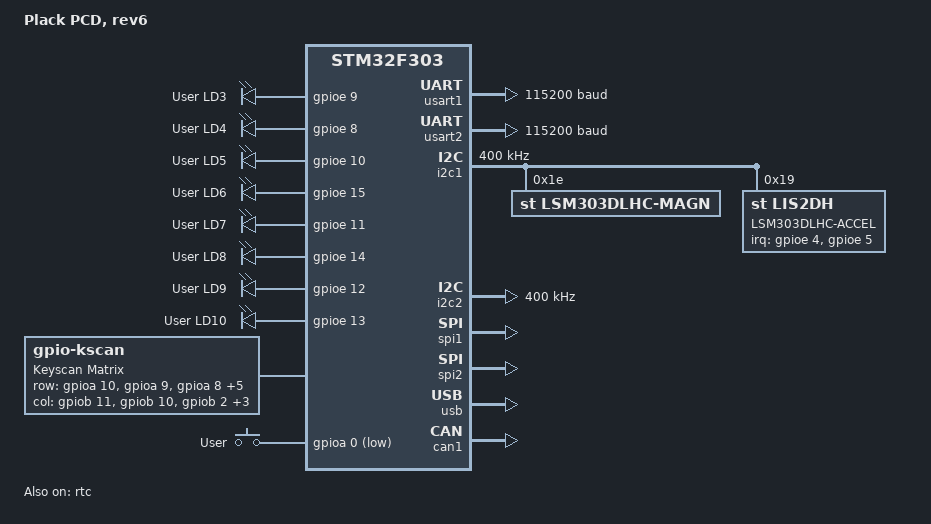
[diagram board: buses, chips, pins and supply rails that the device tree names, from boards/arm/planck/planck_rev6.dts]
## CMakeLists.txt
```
# Find Zephyr. This also loads Zephyr's build system.
cmake_minimum_required(VERSION 3.13.1)

list(APPEND BOARD_ROOT ${CMAKE_SOURCE_DIR})
list(APPEND DTS_ROOT ${CMAKE_SOURCE_DIR})

# Add our custom Zephyr module for drivers w/ syscalls, etc.
list(APPEND DTS_ROOT ${CMAKE_SOURCE_DIR}/drivers/zephyr)

list(APPEND ZEPHYR_EXTRA_MODULES
  ${CMAKE_CURRENT_SOURCE_DIR}/drivers
)
list(APPEND SYSCALL_INCLUDE_DIRS ${CMAKE_CURRENT_SOURCE_DIR}/drivers/zephyr)

include(cmake/keymap.cmake)

find_package(Zephyr)
project(zmk)


if(EXISTS ${KEYMAP_DIR}/keymap.c)
	target_sources(app PRIVATE ${KEYMAP_DIR}/keymap.c)
endif()


# Add your source file to the "app" target. This must come after
# find_package(Zephyr) which defines the target.
target_include_directories(app PRIVATE include)
target_sources(app PRIVATE src/kscan.c)
target_sources(app PRIVATE src/keymap.c)
target_sources(app PRIVATE src/hid.c)
target_sources_ifdef(CONFIG_ZMK_BLE app PRIVATE src/ble.c)
target_sources_ifdef(CONFIG_ZMK_KSCAN_MOCK_DRIVER app PRIVATE src/kscan_mock.c)
target_sources_ifdef(CONFIG_ZMK_KSCAN_COMPOSITE_DRIVER app PRIVATE src/kscan_composite.c)
target_sources_ifdef(CONFIG_ZMK_USB app PRIVATE src/usb_hid.c)
target_sources_ifdef(CONFIG_ZMK_BLE app PRIVATE src/hog.c)
target_sources(app PRIVATE src/endpoints.c)
target_sources(app PRIVATE src/main.c)
target_sources(app PRIVATE src/handlers.c)
```

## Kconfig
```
# Copyright (c) 2020 The ZMK Contributors
# SPDX-License-Identifier: MIT

mainmenu "ZMK Firmware"

menu "ZMK"

menu "Basic Keyboard Setup"

config ZMK_KEYBOARD_NAME
	string "Keyboard Name"

config USB_DEVICE_PRODUCT
	default ZMK_KEYBOARD_NAME

config BT_DEVICE_NAME
	default ZMK_KEYBOARD_NAME

config USB_DEVICE_VID
	default 0x1D50

config USB_DEVICE_PID
	default 0x615E

config USB_DEVICE_MANUFACTURER
	default "ZMK Project"

config BT_DIS_PNP_VID
	default 0x1D50

config BT_DIS_PNP_PID
	default 0x615E

config BT_DIS_MODEL
	default ZMK_KEYBOARD_NAME

config BT_DIS_MANUF
	default "ZMK Project"

menu "HID"

choice ZMK_HID_REPORT_TYPE
	prompt "HID Report Type"

config ZMK_HID_REPORT_TYPE_HKRO
	bool "#-Key Roll Over (HKRO) HID Report"
	help
	  Enable # key roll over for HID report. This selection is "boot keyboard" compatible
	  but limits the total number of possible keys to report as held to #.

config ZMK_HID_REPORT_TYPE_NKRO
	bool "Full N-Key Roll Over (NKRO) HID Report"
	help
	  Enable full N-Key Roll Over for HID output. This selection will prevent the keyboard
	  from working with some BIOS/UEFI versions that only support "boot keyboard" support.
	  This option also prevents using some infrequently used higher range HID usages.

endchoice

if ZMK_HID_REPORT_TYPE_HKRO

config ZMK_HID_KEYBOARD_REPORT_SIZE
	int "# Keyboard Keys Reportable"
	default 6

endif

config ZMK_HID_CONSUMER_REPORT_SIZE
	int "# Consumer Keys Reportable"
	default 6


choice ZMK_HID_CONSUMER_REPORT_USAGES
	prompt "HID Report Type"

config ZMK_HID_CONSUMER_REPORT_USAGES_FULL
	bool "Full Consumer HID Usage Support"
	help
	  Enable full Consumer usage ID values to be sent to hosts. Allows for less
	  frequently used usages, but has compatibability issues with some host OSes.

config ZMK_HID_CONSUMER_REPORT_USAGES_BASIC
	bool "Basic Consumer HID Usage Support"
	help
	  Enable Consumer usage ID values up to "Playback Speed - Slow" to be sent to
	  hosts. Allows for broader compatibability with more host OSes.

endchoice

menu "Output Types"

config ZMK_USB
	bool "USB"
	select USB
	select USB_DEVICE_STACK
	select USB_DEVICE_HID

if ZMK_USB

config USB_NUMOF_EP_WRITE_RETRIES
	default 10

config USB_HID_POLL_INTERVAL_MS
	default 1

#ZMK_USB
endif

menuconfig ZMK_BLE
	bool "BLE (HID over GATT)"
	select BT
	select BT_SMP
	select BT_SMP_SC_PAIR_ONLY
	select BT_SMP_APP_PAIRING_ACCEPT
	select BT_PERIPHERAL
	select BT_DIS
	select BT_BAS
	select BT_SETTINGS
	select SETTINGS

if ZMK_BLE

config SYSTEM_WORKQUEUE_STACK_SIZE
	default 2048

config ZMK_BLE_THREAD_STACK_SIZE
	int "BLE notify thread stack size"
	default 512

config ZMK_BLE_THREAD_PRIORITY
	int "BLE notify thread priority"
	default 5

config ZMK_BLE_KEYBOARD_REPORT_QUEUE_SIZE
	int "Max number of keyboard HID reports to queue for sending over BLE"
	default 20

config ZMK_BLE_CONSUMER_REPORT_QUEUE_SIZE
	int "Max number of consumer HID reports to queue for sending over BLE"
	default 5

config ZMK_BLE_CLEAR_BONDS_ON_START
	bool "Configuration that clears all bond information from the keyboard on startup."
	default n

# HID GATT notifications sent this way are *not* picked up by Linux, and possibly others.
config BT_GATT_NOTIFY_MULTIPLE
	default n

config BT_GATT_AUTO_SEC_REQ
	default n

config BT_DEVICE_APPEARANCE
	default 961

config ZMK_BLE_PASSKEY_ENTRY
	bool "Experimental: Requiring typing passkey from host to pair BLE connection"
	default n

config BT_PERIPHERAL_PREF_MIN_INT
	default 6

config BT_PERIPHERAL_PREF_MAX_INT
	default 12

config BT_PERIPHERAL_PREF_LATENCY
	default 30

config BT_PERIPHERAL_PREF_TIMEOUT
	default 400

#ZMK_BLE
endif

#Output Types
endmenu

# HID
endmenu

rsource "src/split/Kconfig"

#Basic Keyboard Setup
endmenu

menu "Display/LED Options"

rsource "src/display/Kconfig"

menuconfig ZMK_RGB_UNDERGLOW
	bool "RGB Adressable LED Underglow"
	select LED_STRIP

if ZMK_RGB_UNDERGLOW

# This default value cuts down on tons of excess .conf files, if you're using GPIO, manually disable this
config SPI
	default y

config ZMK_RGB_UNDERGLOW_EXT_POWER
	bool "RGB underglow toggling also controls external power"
	default y

config ZMK_RGB_UNDERGLOW_BRT_MIN
	int "RGB underglow minimum brightness in percent"
	range 0 100
	default 0

config ZMK_RGB_UNDERGLOW_BRT_MAX
	int "RGB underglow maximum brightness in percent"
	range ZMK_RGB_UNDERGLOW_BRT_MIN 100
	default 100

config ZMK_RGB_UNDERGLOW_HUE_STEP
	int "RGB underglow hue step in degrees"
	range 0 359
	default 10

config ZMK_RGB_UNDERGLOW_SAT_STEP
	int "RGB underglow saturation step in percent"
	range 0 100
	default 10

config ZMK_RGB_UNDERGLOW_BRT_STEP
	int "RGB underglow brightness step in percent"
	range 0 100
	default 10

config ZMK_RGB_UNDERGLOW_HUE_START
	int "RGB underglow start hue value in degrees"
	range 0 359
	default 0

config ZMK_RGB_UNDERGLOW_SAT_START
	int "RGB underglow start saturations value in percent"
	range 0 100
	default 100

config ZMK_RGB_UNDERGLOW_BRT_START
	int "RGB underglow start brightness value in percent"
	range ZMK_RGB_UNDERGLOW_BRT_MIN ZMK_RGB_UNDERGLOW_BRT_MAX
	default ZMK_RGB_UNDERGLOW_BRT_MAX

config ZMK_RGB_UNDERGLOW_SPD_START
	int "RGB underglow start animation speed value"
	range 1 5
	default 3

config ZMK_RGB_UNDERGLOW_EFF_START
	int "RGB underglow start effect int value related to the effect enum list"
	range 0 3
	default 0

config ZMK_RGB_UNDERGLOW_ON_START
	bool "RGB underglow starts on by default"
	default y

config ZMK_RGB_UNDERGLOW_AUTO_OFF_IDLE
	bool "Turn off RGB underglow when keyboard goes into idle state"

config ZMK_RGB_UNDERGLOW_AUTO_OFF_USB
	bool "Turn off RGB underglow when USB is disconnected"
	depends on USB_DEVICE_STACK

#ZMK_RGB_UNDERGLOW
endif

menuconfig ZMK_BACKLIGHT
	bool "LED backlight"
	select LED

if ZMK_BACKLIGHT

config ZMK_BACKLIGHT_BRT_STEP
	int "Brightness step in percent"
	range 1 100
	default 20

config ZMK_BACKLIGHT_BRT_START
	int "Default brightness in percent"
	range 1 100
	default 40

config ZMK_BACKLIGHT_ON_START
	bool "Default backlight state"
	default y

config ZMK_BACKLIGHT_AUTO_OFF_IDLE
	bool "Turn off backlight when keyboard goes into idle state"

config ZMK_BACKLIGHT_AUTO_OFF_USB
	bool "Turn off backlight when USB is disconnected"

#ZMK_BACKLIGHT
endif

#Display/LED Options
endmenu

menu "Power Management"

config ZMK_IDLE_TIMEOUT
	int "Milliseconds of inactivity before entering idle state (OLED shutoff, etc)"
	default 30000

config ZMK_SLEEP
	bool "Enable deep sleep support"
	imply USB

if ZMK_SLEEP

config PM_DEVICE
	default y

config ZMK_IDLE_SLEEP_TIMEOUT
	int "Milliseconds of inactivity before entering deep sleep"
	default 900000

#ZMK_SLEEP
endif

config ZMK_EXT_POWER
	bool "Enable support to control external power output"
	default y

#Power Management
endmenu

menu "Combo options"

config ZMK_COMBO_MAX_PRESSED_COMBOS
	int "Maximum number of currently pressed combos"
	default 4

config ZMK_COMBO_MAX_COMBOS_PER_KEY
	int "Maximum number of combos per key"
	default 5

config ZMK_COMBO_MAX_KEYS_PER_COMBO
	int "Maximum number of keys per combo"
	default 4

#Combo options
endmenu

menu "Behavior Options"

config ZMK_BEHAVIORS_QUEUE_SIZE
	int "Maximum number of behaviors to allow queueing from a macro or other complex behavior"
	default 64

DT_COMPAT_ZMK_BEHAVIOR_KEY_TOGGLE := zmk,behavior-key-toggle

config ZMK_BEHAVIOR_KEY_TOGGLE
        bool
        default $(dt_compat_enabled,$(DT_COMPAT_ZMK_BEHAVIOR_KEY_TOGGLE))

config ZMK_MACRO_DEFAULT_WAIT_MS
	int "Default time to wait (in milliseconds) before triggering the next behavior in macros"
	default 15

config ZMK_MACRO_DEFAULT_TAP_MS
	int "Default time to wait (in milliseconds) between the press and release events of a tapped behavior in macros"
	default 30

endmenu

menu "Advanced"

menu "Initialization Priorities"

if USB_DEVICE_STACK

config ZMK_USB_INIT_PRIORITY
	int "USB Init Priority"
	default 50

#USB
endif

if ZMK_BLE || ZMK_SPLIT_BLE

config ZMK_BLE_INIT_PRIORITY
	int "BLE Init Priority"
	default 50

#ZMK_BLE || ZMK_SPLIT_BLE
endif

#Initialization Priorities
endmenu

menu "KSCAN Settings"

config ZMK_KSCAN_EVENT_QUEUE_SIZE
	int "Size of the event queue for KSCAN events to buffer events"
	default 4

#KSCAN Settings
endmenu

menu "USB Logging"

config ZMK_USB_LOGGING
	bool "Enable USB CDC ACM logging to help debug"
	select LOG
	select USB
	select USB_DEVICE_STACK
	select USB_CDC_ACM
	select SERIAL
	select CONSOLE
	select UART_INTERRUPT_DRIVEN
	select UART_LINE_CTRL
	select UART_CONSOLE
	select USB_UART_CONSOLE

if ZMK_USB_LOGGING

config ZMK_LOG_LEVEL
	default 4

# We do this to avoid log loop where logging to USB generates more log messages.
config USB_CDC_ACM_LOG_LEVEL
	default 1

config USB_CDC_ACM_RINGBUF_SIZE
	default 1024

config LOG_BUFFER_SIZE
	default 8192

config LOG_STRDUP_BUF_COUNT
	default 16

config LOG_PROCESS_THREAD_STARTUP_DELAY_MS
	default 1000

#ZMK_USB_LOGGING
endif

#USB Logging
endmenu

if SETTINGS

config ZMK_SETTINGS_SAVE_DEBOUNCE
	int "Milliseconds to debounce settings saves"
	default 60000

#SETTINGS
endif

config ZMK_BATTERY_REPORT_INTERVAL
	depends on ZMK_BLE
	int "Battery level report interval in seconds"
	default 60

#Advanced
endmenu

#ZMK
endmenu

config HEAP_MEM_POOL_SIZE
	default 8192

config KERNEL_BIN_NAME
	default "zmk"

config REBOOT
	default y

config USB_DEVICE_STACK
	default y if HAS_HW_NRF_USBD

config ZMK_WPM
	bool "Calculate WPM"
	default n

config SENSOR
	default y

choice CBPRINTF_IMPLEMENTATION
	default CBPRINTF_NANO

endchoice

module = ZMK
module-str = zmk
source "subsys/logging/Kconfig.template.log_config"

rsource "boards/Kconfig"
rsource "boards/shields/*/Kconfig.defconfig"
rsource "boards/shields/*/Kconfig.shield"

osource "$(ZMK_CONFIG)/boards/shields/*/Kconfig.defconfig"
osource "$(ZMK_CONFIG)/boards/shields/*/Kconfig.shield"


source "Kconfig.zephyr"
```

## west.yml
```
manifest:
  remotes:
    - name: zephyrproject-rtos
      url-base: https://github.com/zephyrproject-rtos
    - name: petejohanson
      url-base: https://github.com/petejohanson
  projects:
    - name: zephyr
      remote: zephyrproject-rtos
      revision: master
      import: true
  self:
    path: zmk
```

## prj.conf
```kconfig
CONFIG_USB=y
CONFIG_USB_DEVICE_STACK=y
CONFIG_USB_DEVICE_HID=y
CONFIG_USB_DEVICE_PRODUCT="ZMK Firmware"
CONFIG_ZMK_BLE=y
CONFIG_ZMK_ACTION_MOD_TAP=y
# HID GATT notifications sent this way are *not* picked up by Linux, and possibly others.
CONFIG_BT_GATT_NOTIFY_MULTIPLE=n
CONFIG_BT_DEVICE_NAME="ZMK Keyboard"
CONFIG_BT_DEVICE_APPEARANCE=961
# CONFIG_LOG=y
# CONFIG_ZMK_LOG_LEVEL_DBG=y
# CONFIG_KSCAN_LOG_LEVEL_DBG=y

# Incresed stack due to settings API usage
# CONFIG_SYSTEM_WORKQUEUE_STACK_SIZE=2048
# 
# CONFIG_BT_SETTINGS=y
# CONFIG_FLASH=y
# CONFIG_FLASH_PAGE_LAYOUT=y
# CONFIG_FLASH_MAP=y
# CONFIG_NVS=y
# CONFIG_SETTINGS=y
```

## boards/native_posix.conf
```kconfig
CONFIG_KSCAN=n
CONFIG_ZMK_KSCAN_MOCK_DRIVER=y
CONFIG_ZMK_KSCAN_GPIO_DRIVER=n
CONFIG_GPIO=n
CONFIG_ZMK_BLE=n
CONFIG_LOG=y
CONFIG_KSCAN_LOG_LEVEL_DBG=y
CONFIG_ZMK_LOG_LEVEL_DBG=y
```

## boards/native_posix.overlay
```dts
#include <dt-bindings/zmk/keys.h>
#include <zmk/kscan-mock.h>

/ {
	chosen {
		zmk,kscan = &kscan0;
		zmk,keymap = &keymap0;
	};

	kscan0: kscan_0 {
		compatible = "zmk,kscan-composite";
		label = "KSCAN_COMP";
		rows = <2>;
		columns = <4>;

		left: left {
			kscan = <&left_hand>;
		};

		right: right {
			kscan = <&right_hand>;
			column-offset = <2>;
		};
	};

	left_hand: kscan_1 {
		compatible = "zmk,kscan-mock";
		label = "KSCAN_LEFT";

		rows = <2>;
		columns = <2>;
		events = <ZMK_MOCK_PRESS(0,1,300) ZMK_MOCK_PRESS(0,0,300) ZMK_MOCK_RELEASE(0,0,300) ZMK_MOCK_RELEASE(0,1,300)>;
		// events = <ZMK_MOCK_PRESS(0,0,800) ZMK_MOCK_RELEASE(0,0,800) ZMK_MOCK_PRESS(0,1,800) ZMK_MOCK_RELEASE(0,1,800)>;
	};

	right_hand: kscan_2 {
		compatible = "zmk,kscan-mock";
		label = "KSCAN_RIGHT";

		rows = <2>;
		columns = <2>;
		events = <ZMK_MOCK_PRESS(1,1,800) ZMK_MOCK_RELEASE(1,1,100) ZMK_MOCK_PRESS(0,1,800) ZMK_MOCK_RELEASE(0,1,100)>;
	};

	keymap0: keymap {
		compatible = "zmk,keymap";
		label ="Default keymap";
		layers = <&default &lower &raise>;
	};

	layers {
		compatible = "zmk,layers";

		default: layer_0 {
			label = "DEFAULT";
			keys =
			<
				KC_A MT(MOD_LSFT, KC_B) KC_C KC_D
				KC_E KC_F KC_G KC_H
			>;
		};

		lower: layer_1 {
			label = "LOWER";
			keys = <
				KC_A KC_B KC_C KC_D
				KC_E KC_F KC_G KC_H
			>;
		};

		raise: layer_2 {
			label = "RAISE";
			keys = <
				KC_E KC_F KC_G KC_H 
				KC_A KC_B KC_C KC_D
			>;
		};
	};
};
```

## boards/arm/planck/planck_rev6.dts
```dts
/*
 * Copyright (c) 2017 I-SENSE group of ICCS
 *
 * SPDX-License-Identifier: Apache-2.0
 */

/dts-v1/;
#include <st/f3/stm32f303.dtsi>

/ {
	model = "Plack PCD, rev6";
	compatible = "planck,rev6", "st,stm32f303";

	chosen {
		zephyr,console = &usart1;
		zephyr,shell-uart = &usart1;
		zephyr,sram = &sram0;
		zephyr,flash = &flash0;
	};

	leds {
		compatible = "gpio-leds";
		red_led_3: led_3 {
			gpios = <&gpioe 9 GPIO_ACTIVE_HIGH>;
			label = "User LD3";
		};
		blue_led_4: led_4 {
			gpios = <&gpioe 8 GPIO_ACTIVE_HIGH>;
			label = "User LD4";
		};
		orange_led_5: led_5 {
			gpios = <&gpioe 10 GPIO_ACTIVE_HIGH>;
			label = "User LD5";
		};
		green_led_6: led_6 {
			gpios = <&gpioe 15 GPIO_ACTIVE_HIGH>;
			label = "User LD6";
		};
		green_led_7: led_7 {
			gpios = <&gpioe 11 GPIO_ACTIVE_HIGH>;
			label = "User LD7";
		};
		orange_led_8: led_8 {
			gpios = <&gpioe 14 GPIO_ACTIVE_HIGH>;
			label = "User LD8";
		};
		blue_led_9: led_9 {
			gpios = <&gpioe 12 GPIO_ACTIVE_HIGH>;
			label = "User LD9";
		};
		red_led_10: led_10 {
			gpios = <&gpioe 13 GPIO_ACTIVE_HIGH>;
			label = "User LD10";
		};
	};

	kscan {
		compatible = "gpio-kscan";
		label = "Keyscan Matrix";
		row-gpios = <&gpioa 10 GPIO_ACTIVE_HIGH>,
			       <&gpioa 9 GPIO_ACTIVE_HIGH>,
			       <&gpioa 8 GPIO_ACTIVE_HIGH>,
			       <&gpiob 15 GPIO_ACTIVE_HIGH>,
			       <&gpioc 13 GPIO_ACTIVE_HIGH>,
			       <&gpioc 14 GPIO_ACTIVE_HIGH>,
			       <&gpioc 15 GPIO_ACTIVE_HIGH>,
			       <&gpioa 2 GPIO_ACTIVE_HIGH>;
		col-gpios = <&gpiob 11 GPIO_ACTIVE_HIGH>,
				<&gpiob 10 GPIO_ACTIVE_HIGH>,
				<&gpiob 2 GPIO_ACTIVE_HIGH>,
				<&gpiob 1 GPIO_ACTIVE_HIGH>,
				<&gpioa 7 GPIO_ACTIVE_HIGH>,
				<&gpiob 0 GPIO_ACTIVE_HIGH>;
	};

	gpio_keys {
		compatible = "gpio-keys";
		user_button: button {
			label = "User";
			gpios = <&gpioa 0 GPIO_ACTIVE_LOW>;
		};
	};

	aliases {
		led0 = &green_led_6;
		led1 = &green_led_7;
		sw0 = &user_button;
		can-primary = &can1;
	};
};

&usart1 {
	current-speed = <115200>;
	status = "okay";
};

&usart2 {
	current-speed = <115200>;
	status = "okay";
};

&i2c1 {
	status = "okay";
	clock-frequency = <I2C_BITRATE_FAST>;

	lsm303dlhc-magn@1e {
		compatible = "st,lsm303dlhc-magn";
		reg = <0x1e>;
		label = "LSM303DLHC-MAGN";
	};

	lsm303dlhc-accel@19 {
		compatible = "st,lis2dh", "st,lsm303dlhc-accel";
		reg = <0x19>;
		irq-gpios = <&gpioe 4 GPIO_ACTIVE_HIGH>,
			  <&gpioe 5 GPIO_ACTIVE_HIGH>;
		label = "LSM303DLHC-ACCEL";
	};
};

&i2c2 {
	status = "okay";
	clock-frequency = <I2C_BITRATE_FAST>;
};

&spi1 {
	status = "okay";
};

&spi2 {
	status = "okay";
};

&usb {
	status = "okay";
};

&rtc {
	status = "okay";
};

&can1 {
	status = "okay";
};

&flash0 {
	/*
	 * For more information, see:
	 * http://docs.zephyrproject.org/latest/guides/dts/index.html#flash-partitions
	 */
	partitions {
		compatible = "fixed-partitions";
		#address-cells = <1>;
		#size-cells = <1>;

		/* Set 6Kb of storage at the end of the 256Kb of flash */
		storage_partition: partition@3e800 {
			label = "storage";
			reg = <0x0003e800 0x00001800>;
		};
	};
};
```

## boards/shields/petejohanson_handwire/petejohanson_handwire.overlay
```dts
/ {
	chosen {
		zmk,kscan = &kscan0;
	};

	kscan0: kscan_0 {
		compatible = "zmk,kscan-composite";
		label = "KSCAN_COMP";
		rows = <2>;
		columns = <4>;

		left {
			kscan = <&left_hand>;
		};

		right {
			kscan = <&right_hand>;
			column-offset = <2>;
		};
	};

	left_hand: kscan_1 {
		compatible = "gpio-kscan";
		label = "KSCAN_LEFT";

		diode-direction = "row2col";
		row-gpios = <&arduino_header 8 (GPIO_ACTIVE_LOW | GPIO_PULL_UP)>,
		            <&arduino_header 9 (GPIO_ACTIVE_LOW | GPIO_PULL_UP)>;
		col-gpios = <&arduino_header 10 (GPIO_ACTIVE_LOW | GPIO_PULL_UP)>,
		            <&arduino_header 11 (GPIO_ACTIVE_LOW | GPIO_PULL_UP)>;
	};

	right_hand: kscan_2 {
		compatible = "gpio-kscan";
		label = "KSCAN_RIGHT";

		diode-direction = "row2col";
		row-gpios = <&arduino_header 12 (GPIO_ACTIVE_LOW | GPIO_PULL_UP)>,
		            <&arduino_header 13 (GPIO_ACTIVE_LOW | GPIO_PULL_UP)>;
		col-gpios = <&arduino_header 14 (GPIO_ACTIVE_LOW | GPIO_PULL_UP)>,
		            <&arduino_header 15 (GPIO_ACTIVE_LOW | GPIO_PULL_UP)>;
	};
};
```

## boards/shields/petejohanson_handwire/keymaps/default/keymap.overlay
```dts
#include <dt-bindings/zmk/keys.h>
#include <keymap.h>

/ {
	chosen {
		zmk,keymap = &keymap0;
	};
	keymap0: keymap {
		compatible = "zmk,keymap";
		label ="Default keymap";
		layers = <&default &lower &raise>;
	};

	layers {
		compatible = "zmk,layers";

		default: layer_0 {
			label = "DEFAULT";
			keys =
	<
	KC_A MT(MOD_LSFT, KC_B)    ZC_NO ZC_NO
	CC_RAIS CC_LOWR            ZC_NO ZC_NO
	>;
		};

		lower: layer_1 {
			label = "LOWER";
			keys = <
			KC_MPLY KC_MNXT    ZC_NO ZC_NO
			ZC_TRNS ZC_TRNS    ZC_NO ZC_NO
			>;
		};

		raise: layer_2 {
			label = "RAISE";
			keys = <
			KC_C KC_D          ZC_NO ZC_NO
			ZC_TRNS ZC_TRNS    ZC_NO ZC_NO>;
		};
	};
};
```

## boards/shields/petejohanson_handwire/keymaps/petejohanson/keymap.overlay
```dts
#include <dt-bindings/zmk/keys.h>

/ {
	chosen {
		zmk,keymap = &keymap0;
	};
	keymap0: keymap {
		compatible = "zmk,keymap";
		label ="Default keymap";
		layers = <&default &lower &raise>;
	};

	layers {
		compatible = "zmk,layers";

		default: layer_0 {
			label = "Default";
			keys =
	<
	KC_A KC_B
	KC_C ZC_CSTM(1)
	>;
		};

		lower: layer_1 {
			label = "Lower";
			keys = <KC_D KC_C KC_B KC_A>;
		};

		raise: layer_2 {
			label = "Raise";
			keys = <KC_C KC_D KC_A KC_B>;
		};
	};
};
```

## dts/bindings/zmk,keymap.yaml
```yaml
description: |
  Allows defining a keymap composed of multiple layers

compatible: "zmk,keymap"

properties:
  label:
    type: string
    required: true

  layers:
    type: phandles
    required: true
```

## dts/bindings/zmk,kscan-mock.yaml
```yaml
description: |
  Allows defining a mock keyboard scan driver that simulates periodic events.

compatible: "zmk,kscan-mock"

properties:
  label:
    type: string
  event-period:
    type: int
    description: Milliseconds between each generated event
  events:
    type: array
  rows:
    type: int
  columns:
    type: int
```

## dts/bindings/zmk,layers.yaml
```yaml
description: |
  Allows defining the various keymap layers for use.

compatible: "zmk,layers"

child-binding:
  description: "A layer to be used in a keymap"

  properties:
    label:
      type: string
    keys:
      type: array
```

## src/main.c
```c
/*
 * Copyright (c) 2020 Peter Johanson
 *
 * SPDX-License-Identifier: MIT
 */

#include <zephyr.h>
#include <device.h>
#include <devicetree.h>
#include <settings/settings.h>

#include <logging/log.h>
LOG_MODULE_REGISTER(zmk, CONFIG_ZMK_LOG_LEVEL);

#include <zmk/matrix.h>
#include <zmk/kscan.h>
#include <zmk/endpoints.h>

#define ZMK_KSCAN_DEV DT_LABEL(ZMK_MATRIX_NODE_ID)

void main(void)
{
	printk("Welcome to ZMK!\n");

	if (zmk_kscan_init(ZMK_KSCAN_DEV) != 0)
	{
		return;
	}

	if (zmk_endpoints_init())
	{
		printk("ENDPOINT INIT FAILED\n");
		return;
	}

#ifdef CONFIG_SETTINGS
	settings_load();
#endif
}
```

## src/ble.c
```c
#include <math.h>

#include <settings/settings.h>
#include <bluetooth/bluetooth.h>
#include <bluetooth/conn.h>
#include <bluetooth/hci.h>
#include <bluetooth/uuid.h>
#include <bluetooth/gatt.h>

#include <zmk/keys.h>

static struct bt_conn *auth_passkey_entry_conn;
static u8_t passkey_entries[6] = {0, 0, 0, 0, 0, 0};
static u8_t passkey_digit = 0;

static void connected(struct bt_conn *conn, u8_t err)
{
    char addr[BT_ADDR_LE_STR_LEN];

    bt_addr_le_to_str(bt_conn_get_dst(conn), addr, sizeof(addr));

    if (err)
    {
        printk("Failed to connect to %s (%u)\n", addr, err);
        return;
    }

    printk("Connected %s\n", addr);

    if (bt_conn_set_security(conn, BT_SECURITY_L2))
    {
        printk("Failed to set security\n");
    }
}

static void disconnected(struct bt_conn *conn, u8_t reason)
{
    char addr[BT_ADDR_LE_STR_LEN];

    bt_addr_le_to_str(bt_conn_get_dst(conn), addr, sizeof(addr));

    printk("Disconnected from %s (reason 0x%02x)\n", addr, reason);
}

static void security_changed(struct bt_conn *conn, bt_security_t level,
                             enum bt_security_err err)
{
    char addr[BT_ADDR_LE_STR_LEN];

    bt_addr_le_to_str(bt_conn_get_dst(conn), addr, sizeof(addr));

    if (!err)
    {
        printk("Security changed: %s level %u\n", addr, level);
    }
    else
    {
        printk("Security failed: %s level %u err %d\n", addr, level,
               err);
    }
}

static struct bt_conn_cb conn_callbacks = {
    .connected = connected,
    .disconnected = disconnected,
    .security_changed = security_changed,
};

static void auth_passkey_display(struct bt_conn *conn, unsigned int passkey)
{
    char addr[BT_ADDR_LE_STR_LEN];

    bt_addr_le_to_str(bt_conn_get_dst(conn), addr, sizeof(addr));

    printk("Passkey for %s: %06u\n", addr, passkey);
}

#ifdef CONFIG_ZMK_BLE_PASSKEY_ENTRY

static void auth_passkey_entry(struct bt_conn *conn)
{
    char addr[BT_ADDR_LE_STR_LEN];

    bt_addr_le_to_str(bt_conn_get_dst(conn), addr, sizeof(addr));

    printk("Passkey entry requested for %s\n", addr);
    auth_passkey_entry_conn = bt_conn_ref(conn);
}

#endif

static void auth_cancel(struct bt_conn *conn)
{
    char addr[BT_ADDR_LE_STR_LEN];

    bt_addr_le_to_str(bt_conn_get_dst(conn), addr, sizeof(addr));

    if (auth_passkey_entry_conn)
    {
        bt_conn_unref(auth_passkey_entry_conn);
        auth_passkey_entry_conn = NULL;
    }

    passkey_digit = 0;

    printk("Pairing cancelled: %s\n", addr);
}

static struct bt_conn_auth_cb zmk_ble_auth_cb_display = {
// .passkey_display = auth_passkey_display,

#ifdef CONFIG_ZMK_BLE_PASSKEY_ENTRY
    .passkey_entry = auth_passkey_entry,
#endif
    .cancel = auth_cancel,
};

static const struct bt_data zmk_ble_ad[] = {
    BT_DATA_BYTES(BT_DATA_FLAGS, (BT_LE_AD_GENERAL | BT_LE_AD_NO_BREDR)),
    BT_DATA_BYTES(BT_DATA_UUID16_ALL,
                  0x12, 0x18,  /* HID Service */
                  0x0f, 0x18), /* Battery Service */
};

static void zmk_ble_ready(int err)
{
    if (err)
    {
        printk("Bluetooth init failed (err %d)\n", err);
        return;
    }

    printk("Bluetooth initialized\n");

    err = bt_le_adv_start(BT_LE_ADV_CONN_NAME, zmk_ble_ad, ARRAY_SIZE(zmk_ble_ad), NULL, 0);
    if (err)
    {
        printk("Advertising failed to start (err %d)\n", err);
        return;
    }
}

int zmk_ble_init()
{
    if (IS_ENABLED(CONFIG_SETTINGS))
    {
        settings_load();
    }
    int err = bt_enable(zmk_ble_ready);

    if (err)
    {
        printk("BLUETOOTH FAILED");
        return err;
    }

    bt_conn_cb_register(&conn_callbacks);
    bt_conn_auth_cb_register(&zmk_ble_auth_cb_display);

    return 0;
}

bool zmk_ble_handle_key_user(struct zmk_key_event *key_event)
{
    zmk_key key = key_event->key;

    if (!auth_passkey_entry_conn)
    {
        return true;
    }

    if (key < KC_1 || key > KC_0)
    {
        return true;
    }

    u32_t val = (key == KC_0) ? 0 : (key - KC_1 + 1);

    passkey_entries[passkey_digit++] = val;

    if (passkey_digit == 6)
    {
        u32_t passkey = 0;
        for (int i = 5; i >= 0; i--)
        {
            passkey = (passkey * 10) + val;
        }
        bt_conn_auth_passkey_entry(auth_passkey_entry_conn, passkey);
        bt_conn_unref(auth_passkey_entry_conn);
        auth_passkey_entry_conn = NULL;
    }

    return false;
}
```

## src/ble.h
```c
#pragma once

int zmk_ble_init();
bool zmk_ble_handle_key_user(struct zmk_key_event *key_event);
```

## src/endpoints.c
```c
#include <zmk/endpoints.h>
#include <zmk/hid.h>
#include <zmk/usb_hid.h>
#include <zmk/hog.h>

#include <logging/log.h>
LOG_MODULE_DECLARE(zmk, CONFIG_ZMK_LOG_LEVEL);

int zmk_endpoints_init()
{
    int err;

    LOG_DBG("");

#ifdef CONFIG_ZMK_USB
    err = zmk_usb_hid_init();
    if (err)
    {
        LOG_ERR("USB HID Init Failed\n");
        return err;
    }
#endif /* CONFIG_ZMK_USB */

#ifdef CONFIG_ZMK_BLE
    err = zmk_hog_init();
    if (err)
    {
        LOG_ERR("HOG Init Failed\n");
        return err;
    }

#endif /* CONFIG_ZMK_BLE */

    return 0;
}

int zmk_endpoints_send_report()
{
    int err;
    struct zmk_hid_report *report = zmk_hid_get_report();

#ifdef CONFIG_ZMK_USB
    if (zmk_usb_hid_send_report(report) != 0)
    {
        LOG_DBG("USB Send Failed");
    }
#endif /* CONFIG_ZMK_USB */

#ifdef CONFIG_ZMK_BLE
    err = zmk_hog_send_report(report);
    if (err)
    {
        LOG_ERR("FAILED TO SEND OVER HOG: %d", err);
    }
#endif /* CONFIG_ZMK_BLE */

    return 0;
}

int zmk_endpoints_send_key_event(struct zmk_key_event key_event)
{
    LOG_DBG("key %d, state %d\n", key_event.key, key_event.pressed);

    if (key_event.pressed)
    {
        zmk_hid_press_key(key_event.key);
    }
    else
    {
        zmk_hid_release_key(key_event.key);
    }

    return zmk_endpoints_send_report();
}
```

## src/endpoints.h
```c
#pragma once

#include "keys.h"

int zmk_endpoints_init();
int zmk_endpoints_send_key_event(struct zmk_key_event key_event);
```

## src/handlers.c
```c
#include <zmk/ble.h>
#include <zmk/handlers.h>
#include <zmk/endpoints.h>
#include <zmk/hid.h>
#include <zmk/matrix.h>

#ifdef CONFIG_ZMK_ACTION_MOD_TAP
u16_t action_effect_pending = 0;
#endif

__attribute__((weak)) bool zmk_handle_key_user(struct zmk_key_event *key_event)
{
	return true;
};

bool zmk_handle_action(zmk_action action, struct zmk_key_event *key_event)
{
	zmk_mod mods = ZK_MODS(key_event->key);
	u8_t flattened_index = (key_event->row * ZMK_MATRIX_COLS) + key_event->column;
	switch (action)
	{
#ifdef CONFIG_ZMK_ACTION_MOD_TAP
	case ZMK_ACTION_MOD_TAP:
		if (key_event->pressed)
		{
			WRITE_BIT(action_effect_pending, flattened_index, true);
			zmk_hid_register_mods(mods);
		}
		else
		{
			zmk_hid_unregister_mods(mods);
			if (action_effect_pending & BIT(flattened_index))
			{
				struct zmk_key_event non_mod_event =
					{
						.row = key_event->row,
						.column = key_event->column,
						.key = ZK_KEY(key_event->key),
						.pressed = true};

				zmk_handle_key(non_mod_event);
				// A small sleep is needed to ensure device layer sends initial
				// key, before we send the release.
				k_msleep(10);
				non_mod_event.pressed = false;
				zmk_handle_key(non_mod_event);
			}
			else
			{
				// Since not sending a keycode, at least send the report w/ the mod removed
				zmk_endpoints_send_report(Keypad);
			}
		}
		break;
#endif
	}
	return false;
};

void zmk_handle_key(struct zmk_key_event key_event)
{
	zmk_action action = ZK_ACTION(key_event.key);

	if (!zmk_handle_key_user(&key_event))
	{
		return;
	}

	if (action && !zmk_handle_action(action, &key_event))
	{
		return;
	}

#ifdef CONFIG_ZMK_ACTION_MOD_TAP
	action_effect_pending = 0;
#endif

#ifdef CONFIG_ZMK_BLE
	/* Used for intercepting key presses when doing passkey verification */
	if (!zmk_ble_handle_key_user(&key_event))
	{
		return;
	}
#endif /* CONFIG_ZMK_BLE */

	zmk_endpoints_send_key_event(key_event);
};
```

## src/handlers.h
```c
#pragma once

#include <dt-bindings/zmk/keys.h>

#include "keymap.h"
#include "keys.h"

void zmk_handle_key(struct zmk_key_event key_event);
```

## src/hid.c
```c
#include <zmk/hid.h>

static struct zmk_hid_report report = {
    .modifiers = 0,
    .keys = {0, 0, 0, 0, 0, 0, 0, 0, 0, 0, 0, 0, 0}};

#define _TOGGLE_MOD(mod, state)              \
    if (modifier > MOD_RGUI)                 \
    {                                        \
        return -EINVAL;                      \
    }                                        \
    WRITE_BIT(report.modifiers, mod, state); \
    return 0;

int zmk_hid_register_mod(zmk_mod modifier)
{
    _TOGGLE_MOD(modifier, true);
}
int zmk_hid_unregister_mod(zmk_mod modifier)
{
    _TOGGLE_MOD(modifier, false);
}

int zmk_hid_register_mods(zmk_mod_flags modifiers)
{
    report.modifiers |= modifiers;
    return 0;
}

int zmk_hid_unregister_mods(zmk_mod_flags modifiers)
{
    report.modifiers &= ~modifiers;
    return 0;
}

#define KEY_OFFSET 0x02
#define MAX_KEYS 6

/*
#define TOGGLE_BOOT_KEY(match, val)                      \
    for (int idx = 0; idx < MAX_KEYS; idx++)             \
    {                                                    \
        if (report.boot.keys[idx + KEY_OFFSET] != match) \
        {                                                \
            continue;                                    \
        }                                                \
        report.boot.keys[idx + KEY_OFFSET] = val;        \
        break;                                           \
    }
*/

#define TOGGLE_KEY(code, val) WRITE_BIT(report.keys[code / 8], code % 8, val)

int zmk_hid_press_key(zmk_key code)
{
    if (code >= KC_LCTL && code <= KC_RGUI)
    {
        return zmk_hid_register_mod(code - KC_LCTL);
    }

    if (code > ZMK_HID_MAX_KEYCODE)
    {
        return -EINVAL;
    }

    // TOGGLE_BOOT_KEY(0U, code);

    TOGGLE_KEY(code, true);

    return 0;
};

int zmk_hid_release_key(zmk_key code)
{
    if (code >= KC_LCTL && code <= KC_RGUI)
    {
        return zmk_hid_unregister_mod(code - KC_LCTL);
    }

    if (code > ZMK_HID_MAX_KEYCODE)
    {
        return -EINVAL;
    }

    // TOGGLE_BOOT_KEY(code, 0U);

    TOGGLE_KEY(code, false);

    return 0;
};

struct zmk_hid_report *zmk_hid_get_report()
{
    return &report;
}
```

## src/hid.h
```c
#pragma once

#include <usb/usb_device.h>
#include <usb/class/usb_hid.h>

#include <dt-bindings/zmk/keys.h>

#include "keys.h"

#define ZMK_HID_MAX_KEYCODE KC_APP

static const u8_t zmk_hid_report_desc[] = {
    /* USAGE_PAGE (Generic Desktop) */
    HID_GI_USAGE_PAGE,
    USAGE_GEN_DESKTOP,
    /* USAGE (Keyboard) */
    HID_LI_USAGE,
    USAGE_GEN_DESKTOP_KEYBOARD,
    /* COLLECTION (Application) */
    HID_MI_COLLECTION,
    COLLECTION_APPLICATION,
    /* REPORT ID (1) */
    HID_GI_REPORT_ID,
    0x01,
    /* USAGE_PAGE (Keypad) */
    HID_GI_USAGE_PAGE,
    USAGE_GEN_DESKTOP_KEYPAD,
    /* USAGE_MINIMUM (Keyboard LeftControl) */
    HID_LI_USAGE_MIN(1),
    0xE0,
    /* USAGE_MAXIMUM (Keyboard Right GUI) */
    HID_LI_USAGE_MAX(1),
    0xE7,
    /* LOGICAL_MINIMUM (0) */
    HID_GI_LOGICAL_MIN(1),
    0x00,
    /* LOGICAL_MAXIMUM (1) */
    HID_GI_LOGICAL_MAX(1),
    0x01,

    /* REPORT_SIZE (1) */
    HID_GI_REPORT_SIZE,
    0x01,
    /* REPORT_COUNT (8) */
    HID_GI_REPORT_COUNT,
    0x08,
    /* INPUT (Data,Var,Abs) */
    HID_MI_INPUT,
    0x02,

    /* USAGE_PAGE (Keypad) */
    HID_GI_USAGE_PAGE,
    USAGE_GEN_DESKTOP_KEYPAD,
    /* LOGICAL_MINIMUM (0) */
    HID_GI_LOGICAL_MIN(1),
    0x00,
    /* LOGICAL_MAXIMUM (101) */
    HID_GI_LOGICAL_MAX(1),
    0x01,
    /* USAGE_MINIMUM (Reserved) */
    HID_LI_USAGE_MIN(1),
    0x00,
    /* USAGE_MAXIMUM (Keyboard Application) */
    HID_LI_USAGE_MAX(1),
    ZMK_HID_MAX_KEYCODE,
    /* REPORT_SIZE (8) */
    HID_GI_REPORT_SIZE,
    0x01,
    /* REPORT_COUNT (6) */
    HID_GI_REPORT_COUNT,
    ZMK_HID_MAX_KEYCODE + 1,
    /* INPUT (Data,Ary,Abs) */
    HID_MI_INPUT,
    0x02,
    /* USAGE_PAGE (Keypad) */
    HID_GI_USAGE_PAGE,
    USAGE_GEN_DESKTOP_KEYPAD,
    /* REPORT_SIZE (8) */
    HID_GI_REPORT_SIZE,
    0x02,
    /* REPORT_COUNT (6) */
    HID_GI_REPORT_COUNT,
    0x01,
    /* INPUT (Cnst,Var,Abs) */
    HID_MI_INPUT,
    0x03,
    /* END_COLLECTION */
    HID_MI_COLLECTION_END,
};

// struct zmk_hid_boot_report
// {
//     u8_t modifiers;
//     u8_t _unused;
//     u8_t keys[6];
// } __packed;

struct zmk_hid_report
{
    u8_t modifiers;
    u8_t keys[13];
} __packed;

int zmk_hid_press_key(zmk_key key);
int zmk_hid_release_key(zmk_key key);

struct zmk_hid_report *zmk_hid_get_report();
```

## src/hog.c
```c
#include <settings/settings.h>

#include <bluetooth/bluetooth.h>
#include <bluetooth/gatt.h>

#include <zmk/ble.h>
#include <zmk/hog.h>
#include <zmk/hid.h>

int zmk_hog_init()
{
    return zmk_ble_init();
}

enum
{
    HIDS_REMOTE_WAKE = BIT(0),
    HIDS_NORMALLY_CONNECTABLE = BIT(1),
};

struct hids_info
{
    u16_t version; /* version number of base USB HID Specification */
    u8_t code;     /* country HID Device hardware is localized for. */
    u8_t flags;
} __packed;

struct hids_report
{
    u8_t id;   /* report id */
    u8_t type; /* report type */
} __packed;

static struct hids_info info = {
    .version = 0x0000,
    .code = 0x00,
    .flags = HIDS_NORMALLY_CONNECTABLE & HIDS_REMOTE_WAKE,
};

enum
{
    HIDS_INPUT = 0x01,
    HIDS_OUTPUT = 0x02,
    HIDS_FEATURE = 0x03,
};

static struct hids_report input = {
    .id = 0x01,
    .type = HIDS_INPUT,
};

static bool host_requests_notification = false;
static u8_t ctrl_point;
// static u8_t proto_mode;

static ssize_t read_hids_info(struct bt_conn *conn, const struct bt_gatt_attr *attr, void *buf, u16_t len, u16_t offset)
{
    return bt_gatt_attr_read(conn, attr, buf, len, offset, attr->user_data, sizeof(struct hids_info));
}

static ssize_t read_hids_report_ref(struct bt_conn *conn, const struct bt_gatt_attr *attr, void *buf, u16_t len, u16_t offset)
{
    return bt_gatt_attr_read(conn, attr, buf, len, offset, attr->user_data, sizeof(struct hids_report));
}

static ssize_t read_hids_report_map(struct bt_conn *conn, const struct bt_gatt_attr *attr, void *buf, u16_t len, u16_t offset)
{
    return bt_gatt_attr_read(conn, attr, buf, len, offset, zmk_hid_report_desc, sizeof(zmk_hid_report_desc));
}

static ssize_t read_hids_input_report(struct bt_conn *conn, const struct bt_gatt_attr *attr, void *buf, u16_t len, u16_t offset)
{
    struct zmk_hid_report *report = zmk_hid_get_report();
    return bt_gatt_attr_read(conn, attr, buf, len, offset, report, sizeof(struct zmk_hid_report));
}

// static ssize_t write_proto_mode(struct bt_conn *conn,
//                                 const struct bt_gatt_attr *attr,
//                                 const void *buf, u16_t len, u16_t offset,
//                                 u8_t flags)
// {
//     printk("PROTO CHANGED\n");
//     return 0;
// }

static void input_ccc_changed(const struct bt_gatt_attr *attr, u16_t value)
{
    host_requests_notification = (value == BT_GATT_CCC_NOTIFY) ? 1 : 0;
}

static ssize_t write_ctrl_point(struct bt_conn *conn,
                                const struct bt_gatt_attr *attr,
                                const void *buf, u16_t len, u16_t offset,
                                u8_t flags)
{
    u8_t *value = attr->user_data;

    if (offset + len > sizeof(ctrl_point))
    {
        return BT_GATT_ERR(BT_ATT_ERR_INVALID_OFFSET);
    }

    memcpy(value + offset, buf, len);

    return len;
}

/* HID Service Declaration */
BT_GATT_SERVICE_DEFINE(hog_svc,
                       BT_GATT_PRIMARY_SERVICE(BT_UUID_HIDS),
                       //    BT_GATT_CHARACTERISTIC(BT_UUID_HIDS_PROTOCOL_MODE, BT_GATT_CHRC_WRITE_WITHOUT_RESP,
                       //                           BT_GATT_PERM_WRITE, NULL, write_proto_mode, &proto_mode),
                       BT_GATT_CHARACTERISTIC(BT_UUID_HIDS_INFO, BT_GATT_CHRC_READ,
                                              BT_GATT_PERM_READ, read_hids_info, NULL, &info),
                       BT_GATT_CHARACTERISTIC(BT_UUID_HIDS_REPORT_MAP, BT_GATT_CHRC_READ,
                                              BT_GATT_PERM_READ, read_hids_report_map, NULL, NULL),

                       BT_GATT_CHARACTERISTIC(BT_UUID_HIDS_REPORT,
                                              BT_GATT_CHRC_READ | BT_GATT_CHRC_NOTIFY,
                                              BT_GATT_PERM_READ_ENCRYPT,
                                              read_hids_input_report, NULL, NULL),
                       BT_GATT_CCC(input_ccc_changed,
                                   BT_GATT_PERM_READ_ENCRYPT | BT_GATT_PERM_WRITE_ENCRYPT),
                       BT_GATT_DESCRIPTOR(BT_UUID_HIDS_REPORT_REF, BT_GATT_PERM_READ,
                                          read_hids_report_ref, NULL, &input),
                       BT_GATT_CHARACTERISTIC(BT_UUID_HIDS_CTRL_POINT,
                                              BT_GATT_CHRC_WRITE_WITHOUT_RESP,
                                              BT_GATT_PERM_WRITE,
                                              NULL, write_ctrl_point, &ctrl_point));

int zmk_hog_send_report(struct zmk_hid_report *report)
{
    return bt_gatt_notify(NULL, &hog_svc.attrs[5], report, sizeof(struct zmk_hid_report));
};
```

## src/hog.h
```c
#pragma once

#include "keys.h"
#include "hid.h"

int zmk_hog_init();

int zmk_hog_send_report(struct zmk_hid_report *report);
```

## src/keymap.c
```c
#include <zmk/keymap.h>

static u32_t zmk_keymap_layer_state = 0;
static u8_t zmk_keymap_layer_default = 0;

static zmk_key zmk_keymap[ZMK_KEYMAP_LAYERS_LEN][ZMK_MATRIX_ROWS * ZMK_MATRIX_COLS] = {
#if DT_PROP_HAS_IDX(ZMK_KEYMAP_NODE, layers, 0)
	DT_PROP_BY_PHANDLE_IDX(ZMK_KEYMAP_NODE, layers, 0, keys),
#endif
#if DT_PROP_HAS_IDX(ZMK_KEYMAP_NODE, layers, 1)
	DT_PROP_BY_PHANDLE_IDX(ZMK_KEYMAP_NODE, layers, 1, keys),
#endif
#if DT_PROP_HAS_IDX(ZMK_KEYMAP_NODE, layers, 2)
	DT_PROP_BY_PHANDLE_IDX(ZMK_KEYMAP_NODE, layers, 2, keys),
#endif
#if DT_PROP_HAS_IDX(ZMK_KEYMAP_NODE, layers, 3)
	DT_PROP_BY_PHANDLE_IDX(ZMK_KEYMAP_NODE, layers, 3, keys),
#endif
#if DT_PROP_HAS_IDX(ZMK_KEYMAP_NODE, layers, 4)
	DT_PROP_BY_PHANDLE_IDX(ZMK_KEYMAP_NODE, layers, 4, keys),
#endif
#if DT_PROP_HAS_IDX(ZMK_KEYMAP_NODE, layers, 5)
	DT_PROP_BY_PHANDLE_IDX(ZMK_KEYMAP_NODE, layers, 5, keys),
#endif
#if DT_PROP_HAS_IDX(ZMK_KEYMAP_NODE, layers, 6)
	DT_PROP_BY_PHANDLE_IDX(ZMK_KEYMAP_NODE, layers, 6, keys),
#endif
#if DT_PROP_HAS_IDX(ZMK_KEYMAP_NODE, layers, 7)
	DT_PROP_BY_PHANDLE_IDX(ZMK_KEYMAP_NODE, layers, 7, keys),
#endif
};

#define SET_LAYER_STATE(layer, state)                \
	if (layer >= 32)                                 \
	{                                                \
		return false;                                \
	}                                                \
	WRITE_BIT(zmk_keymap_layer_state, layer, state); \
	return true;

bool zmk_keymap_layer_activate(u8_t layer)
{
	SET_LAYER_STATE(layer, true);
};

bool zmk_keymap_layer_deactivate(u8_t layer)
{
	SET_LAYER_STATE(layer, false);
};

zmk_key zmk_keymap_keycode_from_position(u32_t row, u32_t column)
{
	for (int layer = ZMK_KEYMAP_LAYERS_LEN - 1; layer >= zmk_keymap_layer_default; layer--)
	{
		if ((zmk_keymap_layer_state & BIT(layer)) == BIT(layer) || layer == zmk_keymap_layer_default)
		{
			zmk_key key = zmk_keymap[layer][(row * ZMK_MATRIX_COLS) + column];
			if (key == ZC_TRNS)
			{
				continue;
			}

			return key;
		}
	}

	return ZC_NO;
}
```

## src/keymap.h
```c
#pragma once

#include <devicetree.h>
#include <usb/usb_device.h>
#include <usb/class/usb_hid.h>
#include "dt-bindings/zmk/keys.h"

#include "zmk.h"
#include "keys.h"

#define ZMK_KEYMAP_NODE DT_CHOSEN(zmk_keymap)
#define ZMK_KEYMAP_LAYERS_LEN DT_PROP_LEN(ZMK_KEYMAP_NODE, layers)

bool zmk_keymap_layer_activate(u8_t layer);
bool zmk_keymap_layer_deactivate(u8_t layer);

zmk_key
zmk_keymap_keycode_from_position(u32_t row, u32_t column);
```
